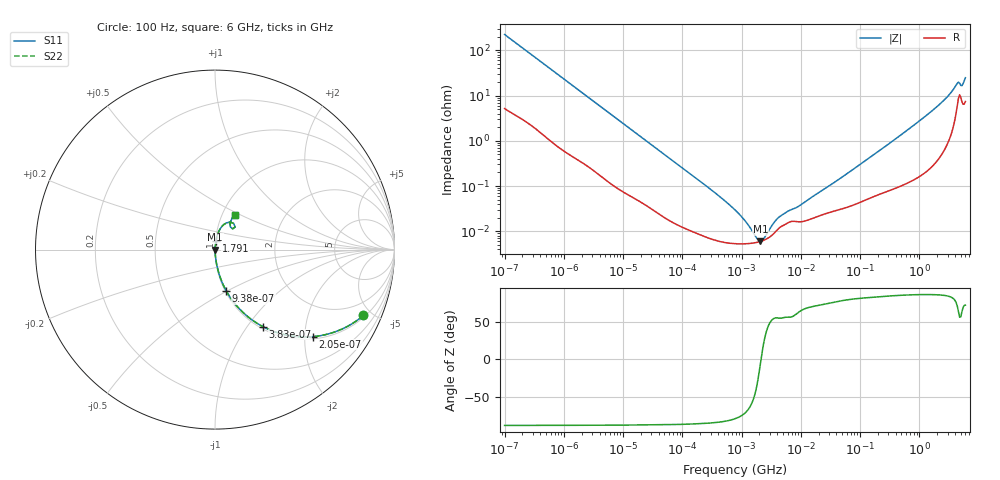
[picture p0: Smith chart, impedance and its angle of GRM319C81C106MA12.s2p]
!Murata Part Number: GRM319C81C106MA12
!These Parameters are Measured in Series Mode Connection
!Data Generated on Mar 30, 2021
!  o--ll--o
!Port1  Port2
!  o------o
!Operation Temp=25[degC], DC Bias Voltage=0[V]
!Freq. Start=100[Hz] Stop=6[GHz] 401[Steps]
# Hz S RI R 50
!Freq.(Hz) S11(Real) S11(Imag) S21(Real) S21(Imag) S12(Real) S12(Imag) S22(Real) S22(Imag)
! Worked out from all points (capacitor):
!   401 points, 100 Hz to 6 GHz, reference 50 ohm
!   read as one part in series: C = 7.11 uF near 109 Hz
!   lowest |Z| = 6.03 mohm at 2.074 MHz (marker M1)
!   series resonance near 2.135 MHz, so ESL is about 780 pH
!   S11 on the Smith chart (normalised r, x): 100 Hz: 1.10, -4.46; 205 Hz: 1.06, -2.20; 383 Hz: 1.03, -1.19; 938 Hz: 1.01, -0.49; 1.791 GHz: 1.01, +0.10; 6 GHz: 1.15, +0.47
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100  0.8269 -0.3669  0.1731 0.3669  0.1731 0.3669  0.8269 -0.3669
205  0.5471 -0.4848  0.4529 0.4848  0.4529 0.4848  0.5471 -0.4848
383  0.2676 -0.4295  0.7324 0.4295  0.7324 0.4295  0.2676 -0.4295
573  0.1449 -0.3394  0.8551 0.3394  0.8551 0.3394  0.1449 -0.3394
938  0.0626 -0.2298  0.9374 0.2298  0.9374 0.2298  0.0626 -0.2298
2008  0.0166 -0.1143  0.9834 0.1143  0.9834 0.1143  0.0166 -0.1143
6433  0.00246 -0.0371  0.9975 0.0371  0.9975 0.0371  0.00246 -0.0371
40335  0.000279 -0.00616  0.9997 0.00616  0.9997 0.00616  0.000279 -0.00616
316350  6.77e-05 -0.000802  0.9999 0.000802  0.9999 0.000802  6.77e-05 -0.000802
774597  5.35e-05 -0.000293  0.9999 0.000293  0.9999 0.000293  5.35e-05 -0.000293
1516199  5.49e-05 -8.59e-05  0.9999 8.59e-05  0.9999 8.59e-05  5.49e-05 -8.59e-05
2074311  5.99e-05 -7e-06  0.9999 7e-06  0.9999 7e-06  5.99e-05 -7e-06
2713602  6.94e-05 6.01e-05  0.9999 -6.01e-05  0.9999 -6.01e-05  6.94e-05 6.01e-05
4440638  0.000123 0.000176  0.9999 -0.000176  0.9999 -0.000176  0.000123 0.000176
9090158  0.000163 0.000316  0.9998 -0.000316  0.9998 -0.000316  0.000163 0.000316
1.555665e7  0.000193 0.000545  0.9998 -0.000545  0.9998 -0.000545  0.000193 0.000545
3.124326e8  0.00087 0.0087  0.9991 -0.0087  0.9991 -0.0087  0.00087 0.0087
1.791126e9  0.00555 0.0501  0.9945 -0.0501  0.9945 -0.0501  0.00555 0.0501
2.931063e9  0.0162 0.0895  0.9838 -0.0895  0.9838 -0.0895  0.0162 0.0895
4.193612e9  0.0639 0.1487  0.9361 -0.1487  0.9361 -0.1487  0.0639 0.1487
5.245841e9  0.0856 0.1263  0.9144 -0.1263  0.9144 -0.1263  0.0856 0.1263
6e9  0.1117 0.1954  0.8883 -0.1954  0.8883 -0.1954  0.1117 0.1954
